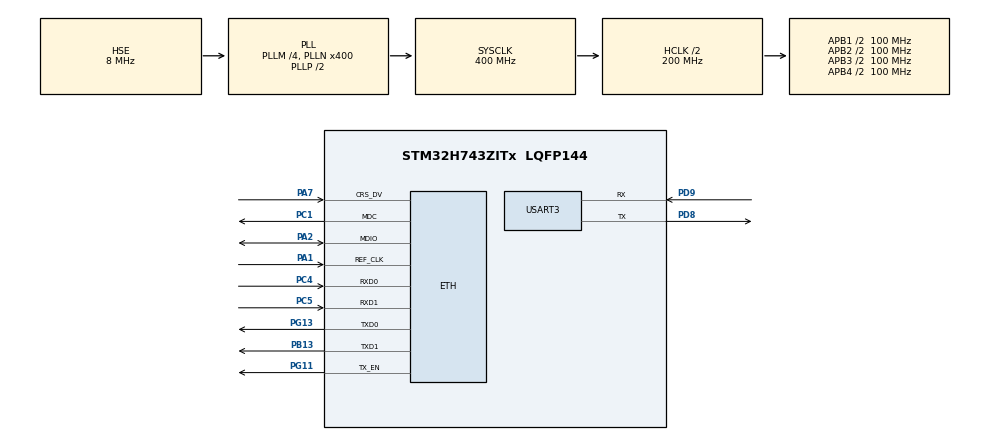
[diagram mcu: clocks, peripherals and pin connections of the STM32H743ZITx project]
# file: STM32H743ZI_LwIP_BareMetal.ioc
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CORTEX_M7.AccessPermission_S-Cortex_Memory_Protection_Unit_Region1_Settings_S=MPU_REGION_FULL_ACCESS
CORTEX_M7.BaseAddress_S-Cortex_Memory_Protection_Unit_Region1_Settings_S=0x30000000
CORTEX_M7.CPU_DCache=Enabled
CORTEX_M7.CPU_ICache=Enabled
CORTEX_M7.DisableExec_S-Cortex_Memory_Protection_Unit_Region1_Settings_S=MPU_INSTRUCTION_ACCESS_DISABLE
CORTEX_M7.Enable-Cortex_Memory_Protection_Unit_Region0_Settings=MPU_REGION_ENABLE
CORTEX_M7.Enable_S-Cortex_Memory_Protection_Unit_Region1_Settings_S=MPU_REGION_ENABLE
CORTEX_M7.Enable_S-Cortex_Memory_Protection_Unit_Region2_Settings_S=__NULL
CORTEX_M7.IsBufferable_S-Cortex_Memory_Protection_Unit_Region1_Settings_S=MPU_ACCESS_NOT_BUFFERABLE
CORTEX_M7.IsShareable_S-Cortex_Memory_Protection_Unit_Region1_Settings_S=MPU_ACCESS_SHAREABLE
CORTEX_M7.MPU_Control=MPU_PRIVILEGED_DEFAULT
CORTEX_M7.Size_S-Cortex_Memory_Protection_Unit_Region1_Settings_S=MPU_REGION_SIZE_32KB
CORTEX_M7.TypeExtField_S-Cortex_Memory_Protection_Unit_Region1_Settings_S=MPU_TEX_LEVEL1
CORTEX_M7.default_mode_Activation=1
ETH.MediaInterface=HAL_ETH_RMII_MODE
LWIP.BSP.number=1
LWIP.GATEWAY_ADDRESS=192.168.001.001
LWIP.ICMP_DEBUG=LWIP_DBG_OFF
LWIP.IP_ADDRESS=192.168.001.142
LWIP.LWIP_BROADCAST_PING=0
LWIP.LWIP_DHCP=0
LWIP.LWIP_IGMP=1
LWIP.LWIP_IPV6=1
LWIP.LWIP_MDNS=1
LWIP.LWIP_MDNS_RESPONDER=1
LWIP.LWIP_MULTICAST_PING=0
LWIP.LWIP_NETIF_HOSTNAME=1
LWIP.LWIP_NETIF_HOSTNAME_NAME=stm32
LWIP.LWIP_NETIF_REMOVE_CALLBACK=1
LWIP.LWIP_NUM_NETIF_CLIENT_DATA=1
LWIP.LWIP_RAM_HEAP_POINTER=0x30002000
LWIP.MDNS_MAX_SERVICES=1
LWIP.MEM_SIZE=10*1024
LWIP.NETMASK_ADDRESS=255.255.255.000
LWIP.Version=v2.1.2_Cube
LWIP0.BSP.STBoard=false
LWIP0.BSP.api=BSP_COMPONENT_DRIVER
LWIP0.BSP.component=LAN8742
LWIP0.BSP.instance=LAN8742
LWIP0.BSP.name=Driver_PHY
LWIP0.BSP.semaphore=S_LAN8742
LWIP0.BSP.solution=LAN8742
Mcu.Family=STM32H7
Mcu.Name=STM32H743ZITx
Mcu.Package=LQFP144
NVIC.ETH_IRQn=true\:5\:0\:true\:false\:true\:true\:true\:true
NVIC.PriorityGroup=NVIC_PRIORITYGROUP_4
NVIC.TIM6_DAC_IRQn=true\:15\:0\:false\:false\:true\:false\:true\:true
NVIC.TimeBase=TIM6_DAC_IRQn
NVIC.TimeBaseIP=TIM6
PA1.GPIO_Speed_Default_HIGH=GPIO_SPEED_FREQ_VERY_HIGH
PA1.Mode=RMII
PA1.Signal=ETH_REF_CLK
PA2.GPIO_Speed_Default_HIGH=GPIO_SPEED_FREQ_VERY_HIGH
PA2.Mode=RMII
PA2.Signal=ETH_MDIO
PA7.GPIO_Speed_Default_HIGH=GPIO_SPEED_FREQ_VERY_HIGH
PA7.Mode=RMII
PA7.Signal=ETH_CRS_DV
PB13.GPIO_Speed_Default_HIGH=GPIO_SPEED_FREQ_VERY_HIGH
PB13.Mode=RMII
PB13.Signal=ETH_TXD1
PC1.GPIO_Speed_Default_HIGH=GPIO_SPEED_FREQ_VERY_HIGH
PC1.Mode=RMII
PC1.Signal=ETH_MDC
PC14-OSC32_IN\ (OSC32_IN).Mode=LSE-External-Oscillator
PC14-OSC32_IN\ (OSC32_IN).Signal=RCC_OSC32_IN
PC15-OSC32_OUT\ (OSC32_OUT).Mode=LSE-External-Oscillator
PC15-OSC32_OUT\ (OSC32_OUT).Signal=RCC_OSC32_OUT
PC4.GPIO_Speed_Default_HIGH=GPIO_SPEED_FREQ_VERY_HIGH
PC4.Mode=RMII
PC4.Signal=ETH_RXD0
PC5.GPIO_Speed_Default_HIGH=GPIO_SPEED_FREQ_VERY_HIGH
PC5.Mode=RMII
PC5.Signal=ETH_RXD1
PD8.GPIO_PuPd=GPIO_PULLUP
PD8.GPIO_Speed=GPIO_SPEED_FREQ_MEDIUM
PD8.Mode=Asynchronous
PD8.Signal=USART3_TX
PD9.GPIO_Speed=GPIO_SPEED_FREQ_MEDIUM
PD9.Mode=Asynchronous
PD9.Signal=USART3_RX
PG11.GPIO_Speed_Default_HIGH=GPIO_SPEED_FREQ_VERY_HIGH
PG11.Mode=RMII
PG11.Signal=ETH_TX_EN
PG13.GPIO_Speed_Default_HIGH=GPIO_SPEED_FREQ_VERY_HIGH
PG13.Mode=RMII
PG13.Signal=ETH_TXD0
PH0-OSC_IN\ (PH0).Mode=HSE-External-Clock-Source
PH0-OSC_IN\ (PH0).Signal=RCC_OSC_IN
ProjectManager.HeapSize=0x2000
ProjectManager.StackSize=0x800
ProjectManager.TargetToolchain=STM32CubeIDE
RCC.ADCFreq_Value=16125000
RCC.APB1Freq_Value=100000000
RCC.APB2Freq_Value=100000000
RCC.APB3Freq_Value=100000000
RCC.APB4Freq_Value=100000000
RCC.CortexFreq_Value=400000000
RCC.D1PPRE=RCC_APB3_DIV2
RCC.D2PPRE1=RCC_APB1_DIV2
RCC.D2PPRE2=RCC_APB2_DIV2
RCC.D3PPRE=RCC_APB4_DIV2
RCC.DIVM1=4
RCC.DIVM3=8
RCC.DIVN1=400
RCC.DIVN3=192
RCC.DIVQ3=4
RCC.HCLKFreq_Value=200000000
RCC.HPRE=RCC_HCLK_DIV2
RCC.HSE_VALUE=8000000
RCC.PLLSourceVirtual=RCC_PLLSOURCE_HSE
RCC.PWR_Regulator_Voltage_Scale=PWR_REGULATOR_VOLTAGE_SCALE1
RCC.SYSCLKFreq_VALUE=400000000
RCC.SYSCLKSource=RCC_SYSCLKSOURCE_PLLCLK
RCC.USART234578CLockSelection=RCC_USART234578CLKSOURCE_PLL3
RCC.USBFreq_Value=400000000
USART3.DMADisableonRxErrorParam=ADVFEATURE_DMA_ENABLEONRXERROR
USART3.OverrunDisableParam=ADVFEATURE_OVERRUN_ENABLE
USART3.VirtualMode-Asynchronous=VM_ASYNC
VP_LWIP_VS_Enabled.Mode=Enabled
VP_MEMORYMAP_VS_MEMORYMAP.Mode=CurAppReg
VP_SYS_VS_tim6.Mode=TIM6
board=custom

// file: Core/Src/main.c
/* USER CODE BEGIN Header */
/**
  ******************************************************************************
  * @file           : main.c
  * @brief          : Main program body
  ******************************************************************************
  * @attention
  *
  * Copyright (c) 2026 STMicroelectronics.
  * All rights reserved.
  *
  * This software is licensed under terms that can be found in the LICENSE file
  * in the root directory of this software component.
  * If no LICENSE file comes with this software, it is provided AS-IS.
  *
  ******************************************************************************
  */
/* USER CODE END Header */
#include "main.h"
#include "lwip.h"

/* USER CODE BEGIN Includes */
#include <stdint.h>
#include <stdio.h>

#include "lan8742.h"
/* USER CODE END Includes */

/* USER CODE BEGIN PD */
#if (defined(__GNUC__) && !defined(__CC_ARM))
#define PUTCHAR_PROTOTYPE int __io_putchar(int ch)
#define GETCHAR_PROTOTYPE int __io_getchar(void)
#else
#define PUTCHAR_PROTOTYPE int fputc(int ch, FILE *f)
#define GETCHAR_PROTOTYPE int fgetc(FILE *f)
#endif /* __GNUC__ */

/* USER CODE END PD */

UART_HandleTypeDef huart3;

void SystemClock_Config(void);
static void MPU_Config(void);
static void MX_GPIO_Init(void);
static void MX_USART3_UART_Init(void);

/* USER CODE BEGIN 0 */

extern struct netif gnetif;

/* USER CODE END 0 */

int main(void)
{

  /* MPU Configuration--------------------------------------------------------*/
  MPU_Config();

  /* Enable the CPU Cache */

  /* Enable I-Cache---------------------------------------------------------*/
  SCB_EnableICache();

  /* Enable D-Cache---------------------------------------------------------*/
  SCB_EnableDCache();

  /* MCU Configuration--------------------------------------------------------*/

  /* Reset of all peripherals, Initializes the Flash interface and the Systick. */
  HAL_Init();

  /* Configure the system clock */
  SystemClock_Config();

  /* Initialize all configured peripherals */
  MX_GPIO_Init();
  MX_LWIP_Init();
  MX_USART3_UART_Init();
  /* USER CODE BEGIN 2 */

  printf("LwIP bare-metal\n");

  /* USER CODE END 2 */

  /* Infinite loop */
  while (1)
  {

    /* USER CODE BEGIN 3 */

	MX_LWIP_Process();

  }
  /* USER CODE END 3 */
}

void SystemClock_Config(void)
{
  RCC_OscInitTypeDef RCC_OscInitStruct = {0};
  RCC_ClkInitTypeDef RCC_ClkInitStruct = {0};

  /** Supply configuration update enable
  */
  HAL_PWREx_ConfigSupply(PWR_LDO_SUPPLY);

  /** Configure the main internal regulator output voltage
  */
  __HAL_PWR_VOLTAGESCALING_CONFIG(PWR_REGULATOR_VOLTAGE_SCALE1);

  while(!__HAL_PWR_GET_FLAG(PWR_FLAG_VOSRDY)) {}

  /** Initializes the RCC Oscillators according to the specified parameters
  * in the RCC_OscInitTypeDef structure.
  */
  RCC_OscInitStruct.OscillatorType = RCC_OSCILLATORTYPE_HSE;
  RCC_OscInitStruct.HSEState = RCC_HSE_BYPASS;
  RCC_OscInitStruct.PLL.PLLState = RCC_PLL_ON;
  RCC_OscInitStruct.PLL.PLLSource = RCC_PLLSOURCE_HSE;
  RCC_OscInitStruct.PLL.PLLM = 4;
  RCC_OscInitStruct.PLL.PLLN = 400;
  RCC_OscInitStruct.PLL.PLLP = 2;
  RCC_OscInitStruct.PLL.PLLQ = 2;
  RCC_OscInitStruct.PLL.PLLR = 2;
  RCC_OscInitStruct.PLL.PLLRGE = RCC_PLL1VCIRANGE_1;
  RCC_OscInitStruct.PLL.PLLVCOSEL = RCC_PLL1VCOWIDE;
  RCC_OscInitStruct.PLL.PLLFRACN = 0;
  if (HAL_RCC_OscConfig(&RCC_OscInitStruct) != HAL_OK)
  {
    Error_Handler();
  }

  /** Initializes the CPU, AHB and APB buses clocks
  */
  RCC_ClkInitStruct.ClockType = RCC_CLOCKTYPE_HCLK|RCC_CLOCKTYPE_SYSCLK
                              |RCC_CLOCKTYPE_PCLK1|RCC_CLOCKTYPE_PCLK2
                              |RCC_CLOCKTYPE_D3PCLK1|RCC_CLOCKTYPE_D1PCLK1;
  RCC_ClkInitStruct.SYSCLKSource = RCC_SYSCLKSOURCE_PLLCLK;
  RCC_ClkInitStruct.SYSCLKDivider = RCC_SYSCLK_DIV1;
  RCC_ClkInitStruct.AHBCLKDivider = RCC_HCLK_DIV2;
  RCC_ClkInitStruct.APB3CLKDivider = RCC_APB3_DIV2;
  RCC_ClkInitStruct.APB1CLKDivider = RCC_APB1_DIV2;
  RCC_ClkInitStruct.APB2CLKDivider = RCC_APB2_DIV2;
  RCC_ClkInitStruct.APB4CLKDivider = RCC_APB4_DIV2;

  if (HAL_RCC_ClockConfig(&RCC_ClkInitStruct, FLASH_LATENCY_2) != HAL_OK)
  {
    Error_Handler();
  }
}

static void MX_USART3_UART_Init(void)
{

  huart3.Instance = USART3;
  huart3.Init.BaudRate = 115200;
  huart3.Init.WordLength = UART_WORDLENGTH_8B;
  huart3.Init.StopBits = UART_STOPBITS_1;
  huart3.Init.Parity = UART_PARITY_NONE;
  huart3.Init.Mode = UART_MODE_TX_RX;
  huart3.Init.HwFlowCtl = UART_HWCONTROL_NONE;
  huart3.Init.OverSampling = UART_OVERSAMPLING_16;
  huart3.Init.OneBitSampling = UART_ONE_BIT_SAMPLE_DISABLE;
  huart3.Init.ClockPrescaler = UART_PRESCALER_DIV1;
  huart3.AdvancedInit.AdvFeatureInit = UART_ADVFEATURE_NO_INIT;
  if (HAL_UART_Init(&huart3) != HAL_OK)
  {
    Error_Handler();
  }
  if (HAL_UARTEx_SetTxFifoThreshold(&huart3, UART_TXFIFO_THRESHOLD_1_8) != HAL_OK)
  {
    Error_Handler();
  }
  if (HAL_UARTEx_SetRxFifoThreshold(&huart3, UART_RXFIFO_THRESHOLD_1_8) != HAL_OK)
  {
    Error_Handler();
  }
  if (HAL_UARTEx_DisableFifoMode(&huart3) != HAL_OK)
  {
    Error_Handler();
  }

}

static void MX_GPIO_Init(void)
{

  /* GPIO Ports Clock Enable */
  __HAL_RCC_GPIOC_CLK_ENABLE();
  __HAL_RCC_GPIOH_CLK_ENABLE();
  __HAL_RCC_GPIOA_CLK_ENABLE();
  __HAL_RCC_GPIOB_CLK_ENABLE();
  __HAL_RCC_GPIOD_CLK_ENABLE();
  __HAL_RCC_GPIOG_CLK_ENABLE();

}

/* USER CODE BEGIN 4 */

/**
 * @brief  Retargets the C library scanf function to the USART.
 * @param  None
 * @retval None
 */
GETCHAR_PROTOTYPE
{
	/* Place your implementation of fgetc here */
	/* e.g. read a character on USART and loop until the end of read */
	uint8_t ch = 0;
	while (HAL_OK != HAL_UART_Receive(&huart3, (uint8_t *)&ch, 1, 30000))
	{
		;
	}
	return ch;
}

/**
 * @brief  Retargets the C library printf function to the USART.
 * @param  None
 * @retval None
 */
#if defined(__GNUC__)
int _write(int fd, char * ptr, int len)
{
  HAL_UART_Transmit(&huart3, (uint8_t *) ptr, len, HAL_MAX_DELAY);
  return len;
}
#elif defined (__ICCARM__)
#include "LowLevelIOInterface.h"
size_t __write(int handle, const unsigned char * buffer, size_t size)
{
  HAL_UART_Transmit(&huart3, (uint8_t *) buffer, size, HAL_MAX_DELAY);
  return size;
}
#elif defined (__CC_ARM)
int fputc(int ch, FILE *f)
    HAL_UART_Transmit(&huart3, (uint8_t *)&ch, 1, HAL_MAX_DELAY);
    return ch;
}
#endif

/* USER CODE END 4 */

 /* MPU Configuration */

void MPU_Config(void)
{
  MPU_Region_InitTypeDef MPU_InitStruct = {0};

  /* Disables the MPU */
  HAL_MPU_Disable();

  /** Initializes and configures the Region and the memory to be protected
  */
  MPU_InitStruct.Enable = MPU_REGION_ENABLE;
  MPU_InitStruct.Number = MPU_REGION_NUMBER0;
  MPU_InitStruct.BaseAddress = 0x0;
  MPU_InitStruct.Size = MPU_REGION_SIZE_4GB;
  MPU_InitStruct.SubRegionDisable = 0x87;
  MPU_InitStruct.TypeExtField = MPU_TEX_LEVEL0;
  MPU_InitStruct.AccessPermission = MPU_REGION_NO_ACCESS;
  MPU_InitStruct.DisableExec = MPU_INSTRUCTION_ACCESS_DISABLE;
  MPU_InitStruct.IsShareable = MPU_ACCESS_SHAREABLE;
  MPU_InitStruct.IsCacheable = MPU_ACCESS_NOT_CACHEABLE;
  MPU_InitStruct.IsBufferable = MPU_ACCESS_NOT_BUFFERABLE;

  HAL_MPU_ConfigRegion(&MPU_InitStruct);

  /** Initializes and configures the Region and the memory to be protected
  */
  MPU_InitStruct.Number = MPU_REGION_NUMBER1;
  MPU_InitStruct.BaseAddress = 0x30000000;
  MPU_InitStruct.Size = MPU_REGION_SIZE_32KB;
  MPU_InitStruct.SubRegionDisable = 0x0;
  MPU_InitStruct.TypeExtField = MPU_TEX_LEVEL1;
  MPU_InitStruct.AccessPermission = MPU_REGION_FULL_ACCESS;

  HAL_MPU_ConfigRegion(&MPU_InitStruct);
  /* Enables the MPU */
  HAL_MPU_Enable(MPU_PRIVILEGED_DEFAULT);

}

void HAL_TIM_PeriodElapsedCallback(TIM_HandleTypeDef *htim)
{
  if (htim->Instance == TIM6)
  {
    HAL_IncTick();
  }
}

void Error_Handler(void)
{
  __disable_irq();
  while (1)
  {
  }
}
